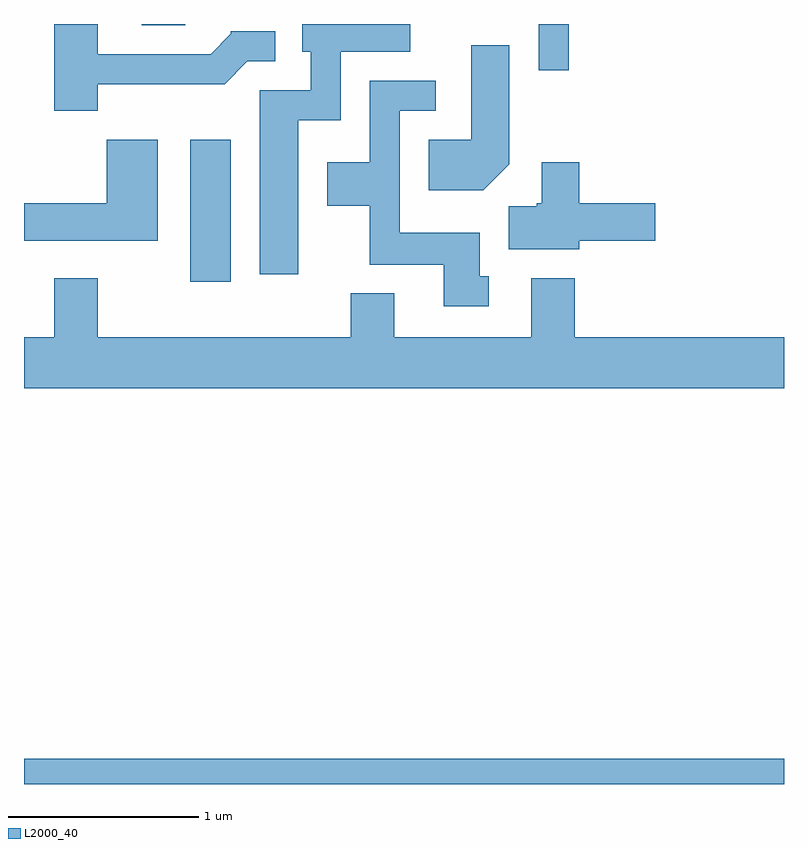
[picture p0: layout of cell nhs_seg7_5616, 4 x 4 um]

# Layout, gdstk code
import gdstk
lib = gdstk.Library(unit=1e-6, precision=1e-09)
def R(c, l, rs):  # rectangles x0, y0, x1, y1
    for r in rs: c.add(gdstk.rectangle(r[:2], r[2:], *l))
def P(c, l, *ps):  # polygons
    for p in ps: c.add(gdstk.Polygon(p, *l))
L2000_40 = (2000, 40)

nhs_seg7_5616 = lib.new_cell('nhs_seg7_5616')
R(nhs_seg7_5616, L2000_40, [(357.611,1692.252,361.611,1692.384), (358.486,1694.896,358.699,1695.644), (360.321,1696.008,360.479,1696.252), (358.231,1696.246,358.459,1696.252)])
P(nhs_seg7_5616, L2000_40, [(357.999,1695.936),(358.667,1695.936),(358.787,1696.056),(358.933,1696.056),(358.933,1696.214),(358.7,1696.214),(358.7,1696.201),(358.594,1696.094),(357.999,1696.094),(357.999,1696.252),(357.771,1696.252),(357.771,1695.796),(357.999,1695.796)],
  [(359.054,1695.746),(359.279,1695.746),(359.279,1696.106),(359.644,1696.106),(359.644,1696.252),(359.076,1696.252),(359.076,1696.106),(359.121,1696.106),(359.121,1695.904),(358.851,1695.904),(358.851,1694.936),(359.054,1694.936)],
  [(360.164,1695.514),(360.164,1696.139),(359.966,1696.139),(359.966,1695.644),(359.741,1695.644),(359.741,1695.376),(360.027,1695.376)],
  [(360.058,1694.924),(360.009,1694.924),(360.009,1695.154),(359.589,1695.154),(359.589,1695.796),(359.778,1695.796),(359.778,1695.954),(359.431,1695.954),(359.431,1695.524),(359.206,1695.524),(359.206,1695.296),(359.431,1695.296),(359.431,1694.986),(359.821,1694.986),(359.821,1694.766),(360.058,1694.766)],
  [(358.314,1695.644),(358.046,1695.644),(358.046,1695.309),(357.611,1695.309),(357.611,1695.111),(358.314,1695.111)],
  [(360.534,1695.111),(360.934,1695.111),(360.934,1695.309),(360.534,1695.309),(360.534,1695.524),(360.336,1695.524),(360.336,1695.309),(360.31,1695.309),(360.31,1695.294),(360.161,1695.294),(360.161,1695.066),(360.534,1695.066)],
  [(361.611,1694.604),(360.509,1694.604),(360.509,1694.914),(360.281,1694.914),(360.281,1694.604),(359.559,1694.604),(359.559,1694.834),(359.331,1694.834),(359.331,1694.604),(357.999,1694.604),(357.999,1694.914),(357.771,1694.914),(357.771,1694.604),(357.611,1694.604),(357.611,1694.336),(361.611,1694.336)])

lib.write_gds('nhs_seg7_5616.gds')
